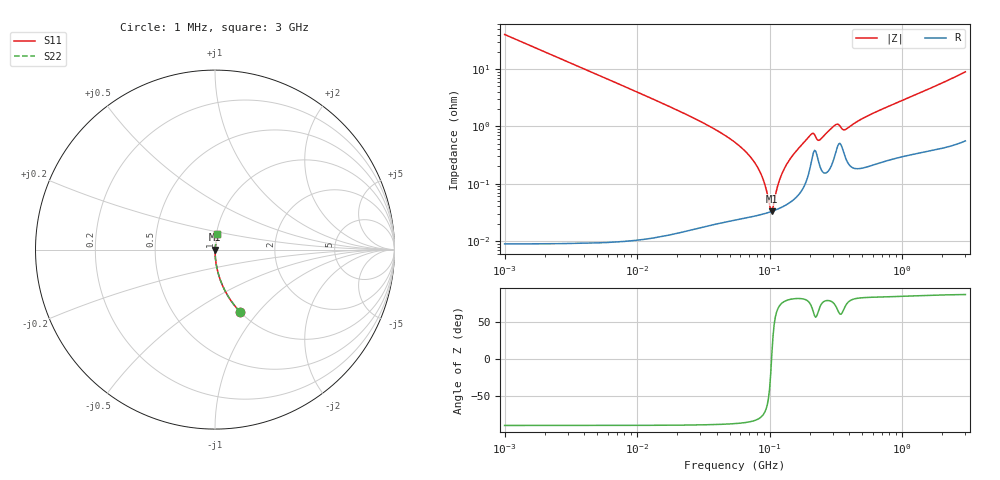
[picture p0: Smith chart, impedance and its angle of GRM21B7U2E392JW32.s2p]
!Murata Part Number: GRM21B7U2E392JW32
!These Parameters are Measured in Series Mode Connection
!Data Generated on Mar 30, 2021
!  o--ll--o
!Port1  Port2
!  o------o
!Operation Temp=25[degC], DC Bias Voltage=0[V]
!Freq. Start=1000[kHz] Stop=3[GHz] 401[Steps]
# Hz S RI R 50
!Freq.(Hz) S11(Real) S11(Imag) S21(Real) S21(Imag) S12(Real) S12(Imag) S22(Real) S22(Imag)
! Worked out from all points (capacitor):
!   401 points, 1 MHz to 3 GHz, reference 50 ohm
!   read as one part in series: C = 3.97 nF near 1.041 MHz
!   lowest |Z| = 33.1 mohm at 103.9 MHz (marker M1)
!   series resonance near 103.4 MHz, so ESL is about 600 pH
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1000000  0.1384 -0.3452  0.8616 0.3452  0.8616 0.3452  0.1384 -0.3452
1751453  0.0498 -0.2173  0.9502 0.2173  0.9502 0.2173  0.0498 -0.2173
3823119  0.0109 -0.1035  0.9891 0.1035  0.9891 0.1035  0.0109 -0.1035
1.461624e7  0.000836 -0.0268  0.9992 0.0268  0.9992 0.0268  0.000836 -0.0268
3.320783e7  0.000296 -0.0108  0.9997 0.0108  0.9997 0.0108  0.000296 -0.0108
5.477226e7  0.000258 -0.00525  0.9997 0.00525  0.9997 0.00525  0.000258 -0.00525
6.826239e7  0.000266 -0.00332  0.9997 0.00332  0.9997 0.00332  0.000266 -0.00332
8.011685e7  0.000281 -0.00201  0.9997 0.00201  0.9997 0.00201  0.000281 -0.00201
8.854986e7  0.000295 -0.00122  0.9997 0.00122  0.9997 0.00122  0.000295 -0.00122
9.984923e7  0.000319 -0.000277  0.9997 0.000277  0.9997 0.000277  0.000319 -0.000277
1.039275e8  0.000329 3.76e-05  0.9997 -3.76e-05  0.9997 -3.76e-05  0.000329 3.76e-05
1.081723e8  0.00034 0.000353  0.9997 -0.000353  0.9997 -0.000353  0.00034 0.000353
1.195584e8  0.000376 0.00115  0.9996 -0.00115  0.9996 -0.00115  0.000376 0.00115
1.321429e8  0.000426 0.00199  0.9996 -0.00199  0.9996 -0.00199  0.000426 0.00199
1.582265e8  0.000587 0.00363  0.9994 -0.00363  0.9994 -0.00363  0.000587 0.00363
2.094008e8  0.00287 0.00692  0.9971 -0.00692  0.9971 -0.00692  0.00287 0.00692
2.408952e8  0.00196 0.00554  0.998 -0.00554  0.998 -0.00554  0.00196 0.00554
3.124888e8  0.00335 0.00999  0.9967 -0.00999  0.9967 -0.00999  0.00335 0.00999
3.741707e8  0.00287 0.00833  0.9971 -0.00833  0.9971 -0.00833  0.00287 0.00833
5.051982e8  0.00206 0.0136  0.9979 -0.0136  0.9979 -0.0136  0.00206 0.0136
8.005644e8  0.00308 0.0224  0.9969 -0.0224  0.9969 -0.0224  0.00308 0.0224
3e9  0.0133 0.0875  0.9867 -0.0875  0.9867 -0.0875  0.0133 0.0875
